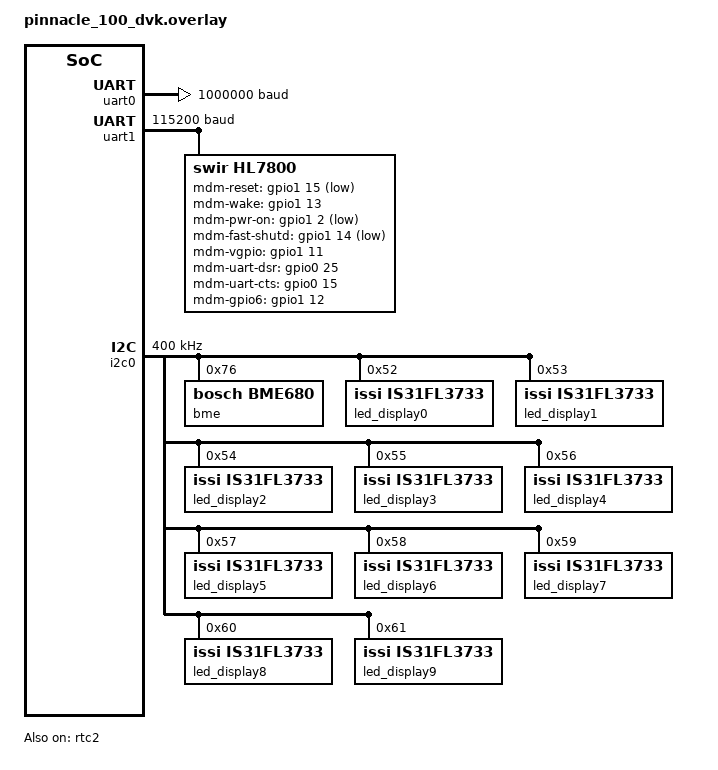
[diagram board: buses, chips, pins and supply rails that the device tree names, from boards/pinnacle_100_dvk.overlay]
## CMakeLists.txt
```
cmake_minimum_required(VERSION 3.20.0)

set(CMAKE_EXPORT_COMPILE_COMMANDS ON)

set(EXTRA_CONF_FILE ${CMAKE_CURRENT_SOURCE_DIR}/sign.conf)

find_package(Zephyr REQUIRED HINTS $ENV{ZEPHYR_BASE})
project(embedded-departure-board)

# Generate hex files from pem files
set(gen_dir ${ZEPHYR_BINARY_DIR}/include/generated/)
zephyr_include_directories(${gen_dir})

foreach(inc_file
  r4.crt
  AmazonRootCA3.cer
)
  generate_inc_file_for_target(
    app
    keys/public/${inc_file}
    ${gen_dir}/${inc_file}.hex
  )
endforeach()

if(NOT EXISTS ${CMAKE_CURRENT_SOURCE_DIR}/keys/private/swiftly-api.key)
  write_file(${CMAKE_CURRENT_SOURCE_DIR}/keys/private/swiftly-api.key \"ffffffffffffffffffffffffffffffff\")
endif()

target_include_directories(app PRIVATE ${CMAKE_CURRENT_SOURCE_DIR}/src)
FILE(GLOB_RECURSE app_sources src/*.c)
target_sources(app PRIVATE ${app_sources})

target_compile_definitions(app PRIVATE _POSIX_C_SOURCE=200809L)
SET_SOURCE_FILES_PROPERTIES( ${app_sources} APPEND PROPERTIES COMPILE_FLAGS -fanalyzer )
```

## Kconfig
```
menu "Embedded Departure Board"
source "Kconfig.zephyr"

#### LED DISPLAY TEST SETTINGS ####
config LED_DISPLAY_TEST
  bool "Select to run LED display test instead of main application"

#### STOP SETTINGS ####
config STOP_ID
  string "Bus stop ID"

config STOP_MAX_ROUTES
  int "Maximum number of routes expected at the configured stop"
  default 5

config ROUTE_MAX_DEPARTURES
  int "Maximum number of departures expected for EACH route"
  default 2

#### SIGN SETTINGS ####

config UPDATE_STOP_FREQUENCY_SECONDS
  int "The frequency at which stop departure times are updated in seconds"
  default 30

config NUMBER_OF_DISPLAY_BOXES
  int "The number of display boxes connected to the sign"
  default 6

config MAX_TIME_INACTIVE_BEFORE_RESET_MS
  int "Maximum amount of time the system can remain inactive before it resets in milliseconds"
  default 60000

#### LIGHT_SENSOR SETTINGS ####

config LIGHT_SENSOR
  bool "Enable I2C ambient light sensor"
  default y

#### HTTP stop request settings ####

config HTTP_REQUEST_RETRY_COUNT
  int "Defines the number of HTTP request retries on failure (i.e. 404)"
  default 0

config STOP_JSON_BUF_SIZE
  int "Defines the max size for stop JSON response body receive buffer"
  default 4096

## SWIFTLY ##
config SWIFTLY_API_HOSTNAME
  string "Swiftly API hostname used to retrieve stop predictions data"
  default "api.goswift.ly"

config SWIFTLY_API_PATH
  string "Swiftly API HTTP path used to retrieve stop predictions data"
  default "/real-time/pioneer-valley-pvta/predictions"

config SWIFTLY_API_NUMBER_OF_PREDICTIONS
  string "The number of future predictions to return per route/stop in the response"
  default "1"

#### NTP SETTINGS ####

config PRIMARY_NTP_SERVER
  string "Primary NTP server used to synchronize system time"
  default "time.nist.gov"

config FALLBACK_NTP_SERVER
  string "Fallback NTP server used to synchronize system time if the primary server is unavailable"
  default "us.pool.ntp.org"

config NTP_REQUEST_TIMEOUT_MS
  int "Max amount of time allowed waiting for a single NTP query response for in milliseconds"
  # The NIST time servers should never be queried more frequently than once every 4 seconds.
  default 4000

config NTP_FETCH_RETRY_COUNT
  int "Max attempts to fetch time from NTP server before changing to fallback server"
  default 2

endmenu
```

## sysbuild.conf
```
SB_CONFIG_BOOTLOADER_MCUBOOT=y
SB_CONFIG_BOOT_SIGNATURE_TYPE_ECDSA_P256=y
SB_CONFIG_MERGED_HEX_FILES=y
```

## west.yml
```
# Import requirements for nRF9160 Feather Examples and Drivers
manifest:
  remotes:
    - name: ncs
      url-base: https://github.com/nrfconnect

  projects:
    - name: nrf
      repo-path: sdk-nrf
      remote: ncs
      revision: v3.4.0
      import:
         name-allowlist:
          - cmsis_6
          - hal_nordic
          - mbedtls
          - mcuboot
          - nrfxlib
          - oberon-psa-crypto
          - segger
          - tf-psa-crypto
          - trusted-firmware-m
          - zcbor
          - zephyr

    # Multiplexer Driver
    - name: multiplexer
      url: https://github.com/justins-engineering/zephyr-multiplexer
      revision: main
      path: multiplexer

  self:
    path: app
```

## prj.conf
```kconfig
# TF-M's "profile not set" build (see CONFIG_TFM_PROFILE_TYPE_NOT_SET in this
# board's conf) unconditionally enables TFM_EXPERIMENTAL
CONFIG_WARN_EXPERIMENTAL=n

# Set LIBC
CONFIG_PICOLIBC=y

# PicolibC targets C17 and POSIX 2018 standards
CONFIG_STD_C17=y

# Enforce MISRA C standards
CONFIG_MISRA_SANE=y

# Enable FPU & FPU sharing
CONFIG_FPU=y
CONFIG_FPU_SHARING=y

# Reset Reason and Reboot
CONFIG_HWINFO=y
CONFIG_REBOOT=y

# Power Management
CONFIG_PM_DEVICE=y

# Compiler optimizations
# Optimize for speed since space isn't a huge concern for this app
CONFIG_SPEED_OPTIMIZATIONS=y

# Flash operations.
CONFIG_FLASH=y
CONFIG_FLASH_MAP=y
CONFIG_FLASH_PAGE_LAYOUT=y
CONFIG_STREAM_FLASH=y
CONFIG_SETTINGS=y

# Watchdog timer
CONFIG_WATCHDOG=y
CONFIG_WDT_DISABLE_AT_BOOT=n

# Multiplexor drivers
CONFIG_GPIO=y
CONFIG_MULTIPLEXER=y

# Counter
CONFIG_COUNTER=y

# I2C
CONFIG_I2C=y

# PWM
CONFIG_PWM=y

# Networking
CONFIG_NETWORKING=y
CONFIG_NET_BUF=y
CONFIG_NET_SOCKETS=y
CONFIG_NET_IPV4=y
CONFIG_NET_IPV6=y
CONFIG_NET_UDP=n

# SNTP
CONFIG_SNTP=y

# Stack and heap configurations
# Needs to be larger than expected routes JSON, see sign.conf.
# Currently set to double the size because we have plenty of memory.
CONFIG_MAIN_STACK_SIZE=24576
# Increase heap size for networking operations
CONFIG_HEAP_MEM_POOL_SIZE=4096

# MCUBOOT
CONFIG_BOOTLOADER_MCUBOOT=y
CONFIG_MCUBOOT_BOOTUTIL_LIB=y

# Enable MCUmgr and dependencies.
CONFIG_ZCBOR=y
CONFIG_MCUMGR=y
CONFIG_BASE64=y
CONFIG_CRC=y
CONFIG_CONSOLE=y
CONFIG_UART_CONSOLE=y
CONFIG_UART_CONSOLE_MCUMGR=y
CONFIG_UART_MCUMGR=y
CONFIG_MCUMGR_TRANSPORT_UART=y

# Increase MCUmgr transfer speeds
CONFIG_UART_MCUMGR_RX_BUF_SIZE=512
CONFIG_MCUMGR_TRANSPORT_NETBUF_SIZE=512

# Some MCUmgr command handlers require a large stack.
CONFIG_SYSTEM_WORKQUEUE_STACK_SIZE=4096

# Enable most MCUmgr core commands.
CONFIG_IMG_MANAGER=y
CONFIG_IMG_ERASE_PROGRESSIVELY=y
CONFIG_MCUMGR_GRP_IMG=y
CONFIG_MCUMGR_GRP_OS=y
CONFIG_IMG_ENABLE_IMAGE_CHECK=y

# Hardening
CONFIG_FORTIFY_SOURCE_COMPILE_TIME=y
CONFIG_STACK_SENTINEL=y
CONFIG_OVERRIDE_FRAME_POINTER_DEFAULT=y
CONFIG_STACK_CANARIES=y
CONFIG_STACK_POINTER_RANDOM=100

# NCS boot banner
CONFIG_NCS_APPLICATION_BOOT_BANNER_STRING="Embedded Departure Board Stop 414"

# Logging
CONFIG_LOG=y
# 1 = Error, 2 = Warn, 3 = Info, 4 = Debug
CONFIG_LOG_DEFAULT_LEVEL=2

# Log mode minimal & immediate are good for debugging
CONFIG_LOG_MODE_MINIMAL=y
# CONFIG_LOG_MODE_IMMEDIATE=y

# Log mode deferred
# CONFIG_LOG_MODE_DEFERRED=y
# CONFIG_LOG_SPEED=y
# CONFIG_LOG_DBG_COLOR_BLUE=y
# CONFIG_LOG_PROCESS_THREAD_STACK_SIZE=2048
# The default stack size of 1024 seems okay for log level 1 and 2, but not 3 and 4.
# We have enough unused RAM and I'd rather avoid any potential logging stack overflows either way.

# Log RTT
# CONFIG_LOG_BACKEND_UART=n
# CONFIG_LOG_MODE_MINIMAL=n
# CONFIG_USE_SEGGER_RTT=y
# CONFIG_LOG_BACKEND_RTT=y
# CONFIG_SEGGER_RTT_MODE_NO_BLOCK_TRIM=y

# Network Logging
# CONFIG_NET_LOG=y
# CONFIG_NET_SOCKETS_LOG_LEVEL_DBG=y

# Debugging
CONFIG_DEBUG=y
CONFIG_FAULT_DUMP=2
# CONFIG_DEBUG_COREDUMP=y
# CONFIG_DEBUG_COREDUMP_BACKEND_LOGGING=y
# CONFIG_DEBUG_COREDUMP_MEMORY_DUMP_MIN=y
# CONFIG_DEBUG_OPTIMIZATIONS=y
# CONFIG_THREAD_NAME=y
# CONFIG_THREAD_MONITOR=y
# CONFIG_THREAD_ANALYZER=y
# CONFIG_THREAD_ANALYZER_USE_LOG=y
# CONFIG_THREAD_ANALYZER_USE_PRINTK=y
# CONFIG_THREAD_ANALYZER_AUTO=y
# CONFIG_THREAD_ANALYZER_AUTO_INTERVAL=5
# CONFIG_DEBUG_THREAD_INFO=y
# CONFIG_THREAD_STACK_INFO=y
# CONFIG_MULTIPLEXER_LOG_LEVEL_DBG=y

# CONFIG_SYS_HEAP_LISTENER=y
# CONFIG_SYS_HEAP_RUNTIME_STATS=y
# CONFIG_STACK_USAGE=y
# CONFIG_INIT_STACKS=y
```

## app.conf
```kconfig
CONFIG_STOP_ID="73"

CONFIG_UPDATE_STOP_FREQUENCY=30

# Stop data request options
CONFIG_STOP_REQUEST_INFOPOINT=y
CONFIG_STOP_REQUEST_HOSTNAME="bustracker.pvta.com"
# CONFIG_STOP_REQUEST_HOSTNAME="pvta.jes.contact"

CONFIG_STOP_REQUEST_PATH="/InfoPoint/rest/SignageStopDepartures/GetSignageDeparturesByStopId?stopId=73"
# CONFIG_STOP_REQUEST_PATH="/stop/73"

# Defines the max size for JSON response body receive buffer.
# Actual size required varies quite a bit depending on how many routes
# are currently running for a given stop.
CONFIG_STOP_JSON_BUF_SIZE=10240

# OTA DFU options
CONFIG_OTA_HOSTNAME="pvta.jes.contact"
CONFIG_OTA_PATH="/firmware"

# Set to 'y' to enable I2C ambient light sensor
CONFIG_LIGHT_SENSOR=y

# Set to 'y' to run visiual display tests
CONFIG_LED_DISPLAY_TEST=n
```

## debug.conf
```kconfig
# # UART Shell
# CONFIG_SHELL=y
# CONFIG_FILE_SYSTEM_SHELL=y

# RTT Shell
CONFIG_SHELL=y
CONFIG_USE_SEGGER_RTT=y
CONFIG_SHELL_BACKEND_RTT=y
CONFIG_FILE_SYSTEM_SHELL=y

# Log UART
# CONFIG_LOG_INFO_COLOR_GREEN=y
# CONFIG_LOG_MODE_MINIMAL=y
# CONFIG_LOG_MODE_DEFERRED=y
# CONFIG_LOG_MODE_OVERFLOW=y
# CONFIG_LOG_BUFFER_SIZE=2048
# CONFIG_LOG_PROCESS_THREAD_STACK_SIZE=2048

# Log RTT
# CONFIG_LOG_MODE_MINIMAL=n
# CONFIG_RTT_CONSOLE=y
# CONFIG_USE_SEGGER_RTT=y
# CONFIG_LOG_BACKEND_RTT=y
# CONFIG_LOG_BACKEND_UART=n
# CONFIG_LOG_BACKEND_RTT_BUFFER_SIZE=2048
# CONFIG_LOG_BACKEND_RTT_MESSAGE_SIZE=256
# CONFIG_LOG_BACKEND_RTT_MODE_OVERWRITE=y
# CONFIG_LOG_PROCESS_THREAD_STACK_SIZE=2048

# Network Logging
# CONFIG_NET_LOG=y
# CONFIG_NET_BUF_LOG=y
# CONFIG_NET_BUF_LOG_LEVEL_DBG=y
# CONFIG_NET_SOCKETS_LOG_LEVEL_DBG=y
# CONFIG_NET_HTTP_LOG_LEVEL_DBG=y
# CONFIG_NET_BUF_POOL_USAGE=y
# CONFIG_NET_BUF_SIMPLE_LOG=y

# Debugging
CONFIG_DEBUG=y
# CONFIG_DEBUG_OPTIMIZATIONS=y
# CONFIG_RESET_ON_FATAL_ERROR=n
# CONFIG_THREAD_NAME=y
# CONFIG_THREAD_MONITOR=y
# CONFIG_THREAD_ANALYZER=y
# CONFIG_THREAD_ANALYZER_ISR_STACK_USAGE=y
# CONFIG_THREAD_ANALYZER_USE_LOG=y
# CONFIG_THREAD_ANALYZER_AUTO=y
# CONFIG_DEBUG_THREAD_INFO=y
# CONFIG_THREAD_STACK_INFO=y
# CONFIG_DEBUG_COREDUMP=y
# CONFIG_DEBUG_COREDUMP_BACKEND_LOGGING=y
# CONFIG_DEBUG_COREDUMP_MEMORY_DUMP_MIN=y
# CONFIG_MULTIPLEXER_LOG_LEVEL_DBG=y
# CONFIG_LOG_DEFAULT_LEVEL=3
```

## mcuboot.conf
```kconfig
# Config for building with ECDSA-P256 signatures
CONFIG_BOOT_SIGNATURE_TYPE_ECDSA_P256=y
CONFIG_BOOT_SWAP_USING_MOVE=y
# CONFIG_TFM_KEY_FILE_NS="keys/secret/root-rsa-3072_ns.pem"
# CONFIG_TFM_KEY_FILE_S="keys/secret/root-rsa-3072_s.pem"
```

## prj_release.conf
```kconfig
# See prj.conf's comment: TFM_EXPERIMENTAL is unconditionally enabled by this
# TF-M profile on this SoC, reproduced on a stock hello_world -- not this
# app's fault, but fatal under this project's strict Kconfig-warnings policy.
CONFIG_WARN_EXPERIMENTAL=n

# Set LIBC
CONFIG_PICOLIBC=y

# PicolibC targets C17 and POSIX 2018 standards
CONFIG_STD_C17=y

# Enforce MISRA C standards
CONFIG_MISRA_SANE=y

# Enable FPU & FPU sharing
CONFIG_FPU=y
CONFIG_FPU_SHARING=y

# Reset Reason and Reboot
CONFIG_HWINFO=y
CONFIG_REBOOT=y

# Power Management
CONFIG_PM_DEVICE=y

# Compiler optimizations
# Optimize for speed since space isn't a huge concern for this app
CONFIG_SPEED_OPTIMIZATIONS=y

# Flash operations.
CONFIG_FLASH=y
CONFIG_FLASH_MAP=y
CONFIG_FLASH_PAGE_LAYOUT=y
CONFIG_STREAM_FLASH=y
CONFIG_SETTINGS=y

# Watchdog timer
CONFIG_WATCHDOG=y
CONFIG_WDT_DISABLE_AT_BOOT=n

# Multiplexor drivers
CONFIG_GPIO=y
CONFIG_MULTIPLEXER=y

# Counter
CONFIG_COUNTER=y

# I2C
CONFIG_I2C=y

# PWM
CONFIG_PWM=y

# Networking
CONFIG_NETWORKING=y
CONFIG_NET_BUF=y
CONFIG_NET_SOCKETS=y
CONFIG_NET_IPV4=y
CONFIG_NET_IPV6=y
CONFIG_NET_UDP=n

# SNTP
CONFIG_SNTP=y

# Stack and heap configurations
# Needs to be larger than expected routes JSON, see sign.conf.
# Currently set to double the size because we have plenty of memory.
CONFIG_MAIN_STACK_SIZE=24576
# Increase heap size for networking operations
CONFIG_HEAP_MEM_POOL_SIZE=4096

# MCUBOOT
CONFIG_BOOTLOADER_MCUBOOT=y
CONFIG_MCUBOOT_BOOTUTIL_LIB=y

# Enable MCUmgr and dependencies.
CONFIG_ZCBOR=y
CONFIG_MCUMGR=y
CONFIG_BASE64=y
CONFIG_CRC=y
CONFIG_CONSOLE=y
CONFIG_UART_CONSOLE=y
CONFIG_UART_CONSOLE_MCUMGR=y
# Previously implied by another symbol; NCS 3.4.0 needs this set explicitly.
CONFIG_UART_MCUMGR=y
CONFIG_MCUMGR_TRANSPORT_UART=y

# Increase MCUmgr transfer speeds
CONFIG_UART_MCUMGR_RX_BUF_SIZE=512
CONFIG_MCUMGR_TRANSPORT_NETBUF_SIZE=512

# Some MCUmgr command handlers require a large stack.
CONFIG_SYSTEM_WORKQUEUE_STACK_SIZE=4096

# Enable most MCUmgr core commands.
CONFIG_IMG_MANAGER=y
CONFIG_IMG_ERASE_PROGRESSIVELY=y
CONFIG_MCUMGR_GRP_IMG=y
CONFIG_MCUMGR_GRP_OS=y
CONFIG_IMG_ENABLE_IMAGE_CHECK=y

# Hardening
CONFIG_FORTIFY_SOURCE_COMPILE_TIME=y
CONFIG_STACK_SENTINEL=y
CONFIG_OVERRIDE_FRAME_POINTER_DEFAULT=y
CONFIG_STACK_CANARIES=y
CONFIG_STACK_POINTER_RANDOM=100
CONFIG_BOOT_BANNER=n
CONFIG_BUILD_OUTPUT_STRIPPED=y
CONFIG_EARLY_CONSOLE=n
CONFIG_FAULT_DUMP=0
CONFIG_EXCEPTION_DEBUG=n
CONFIG_PRINTK=n
CONFIG_NCS_BOOT_BANNER=n

# Logging
CONFIG_LOG=y
# 1 = Error, 2 = Warn, 3 = Info, 4 = Debug
CONFIG_LOG_DEFAULT_LEVEL=2
CONFIG_LOG_MODE_MINIMAL=y

# Debugging
CONFIG_DEBUG=n

# Auto reset
CONFIG_RESET_ON_FATAL_ERROR=y
```

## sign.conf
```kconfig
# Stop settings
CONFIG_STOP_ID="414"
CONFIG_STOP_MAX_ROUTES=8
CONFIG_ROUTE_MAX_DEPARTURES=3

# Display settings
# Adjust DISPLAY_BOXES display settings in app/src/update_stop.h
CONFIG_NUMBER_OF_DISPLAY_BOXES=6

# We occasionally get an EAGAIN error on socket connect to the Swiftly endpoint.
CONFIG_HTTP_REQUEST_RETRY_COUNT=1

# Defines the max size for JSON response body receive buffer.
# Actual size required varies quite a bit depending on how many routes
# are currently running for a given stop.
CONFIG_STOP_JSON_BUF_SIZE=8192

# Set to 'n' to disable I2C ambient light sensor
# CONFIG_LIGHT_SENSOR=n

# Set to 'y' to run visual display tests
# CONFIG_LED_DISPLAY_TEST=y
```

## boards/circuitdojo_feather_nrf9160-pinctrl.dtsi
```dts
&pinctrl {
  spi_feather_default: spi_feather_default {
    group1 {
      psels = <NRF_PSEL(SPIM_SCK, 0, 19)>,
              <NRF_PSEL(SPIM_MOSI, 0, 21)>,
              <NRF_PSEL(SPIM_MISO, 0, 22)>;
    };
    group2 {
      psels = <NRF_PSEL(SPIM_SCK, 0, 19)>,
              <NRF_PSEL(SPIM_MOSI, 0, 23)>,
              <NRF_PSEL(SPIM_MISO, 0, 21)>;
    };
  };

  spi_feather_sleep: spi_feather_sleep {
    group1 {
      psels = <NRF_PSEL(SPIM_SCK, 0, 19)>,
              <NRF_PSEL(SPIM_MOSI, 0, 23)>,
              <NRF_PSEL(SPIM_MISO, 0, 24)>;
      low-power-enable;
    };
  };

  // spi_feather_pinmux_0: spi_feather_pinmux_0 {
  //   group1 {
  //     psels = <NRF_PSEL(SPIM_SCK, 0, 19)>,
  //             <NRF_PSEL(SPIM_MOSI, 0, 23)>,
  //             <NRF_PSEL(SPIM_MISO, 0, 21)>;
  //   };
  // };

  // /omit-if-no-ref/ spi_feather_pinmux_1: spi_feather_pinmux_1 {
  //   group1 {
  //     psels = <NRF_PSEL(SPIM_SCK, 0, 19)>,
  //             <NRF_PSEL(SPIM_MOSI, 0, 24)>,
  //             <NRF_PSEL(SPIM_MISO, 0, 21)>;
  //   };
  // };

  // /omit-if-no-ref/ spi_feather_pinmux_2: spi_feather_pinmux_2 {
  //   group1 {
  //     psels = <NRF_PSEL(SPIM_SCK, 0, 19)>,
  //             <NRF_PSEL(SPIM_MOSI, 0, 22)>,
  //             <NRF_PSEL(SPIM_MISO, 0, 21)>;
  //   };
  // };

  // /omit-if-no-ref/ spi_feather_pinmux_3: spi_feather_pinmux_3 {
  //   group1 {
  //     psels = <NRF_PSEL(SPIM_SCK, 0, 19)>,
  //             <NRF_PSEL(SPIM_MOSI, 0, 4)>,
  //             <NRF_PSEL(SPIM_MISO, 0, 21)>;
  //   };
  // };

  // /omit-if-no-ref/ spi_feather_pinmux_4: spi_feather_pinmux_4 {
  //   group1 {
  //     psels = <NRF_PSEL(SPIM_SCK, 0, 19)>,
  //             <NRF_PSEL(SPIM_MOSI, 0, 29)>,
  //             <NRF_PSEL(SPIM_MISO, 0, 21)>;
  //   };
  // };
};
```

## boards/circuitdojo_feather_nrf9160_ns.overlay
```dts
#include <zephyr/dt-bindings/led/led.h>

&pinctrl {
  i2c1_default: i2c1_default {
    group1 {
      psels = <NRF_PSEL(TWIM_SDA, 0, 26)>,
              <NRF_PSEL(TWIM_SCL, 0, 27)>;
      bias-pull-up;
    };
  };

  spi_feather_default: spi_feather_default {
    group1 {
      psels = <NRF_PSEL(SPIM_SCK, 0, 19)>,
              <NRF_PSEL(SPIM_MOSI, 0, 21)>,
              <NRF_PSEL(SPIM_MISO, 0, 22)>;
    };
  };

  spi_feather_sleep: spi_feather_sleep {
    group1 {
      psels = <NRF_PSEL(SPIM_SCK, 0, 19)>,
              <NRF_PSEL(SPIM_MOSI, 0, 21)>,
              <NRF_PSEL(SPIM_MISO, 0, 22)>;
      low-power-enable;
    };
  };
};

&i2c1 {
  compatible = "nordic,nrf-twim";
	status = "okay";
  zephyr,concat-buf-size = <256>;

	pinctrl-0 = <&i2c1_default>;
	pinctrl-1 = <&i2c1_sleep>;
	pinctrl-names = "default", "sleep";

  pcf85063a: pcf85063a@51 {
	  status = "disabled";
  };

  lis2dh: lis2dh@18 {
    status = "disabled";
  };

  sen0562@23 {
    status = "okay";
    compatible = "dfrobot,sen0562";
    reg = <0x23>;
  };
};

&uart0 {
  status = "okay";
  compatible = "nordic,nrf-uarte";
  current-speed = <1000000>;
  pinctrl-0 = <&uart0_default>;
  pinctrl-1 = <&uart0_sleep>;
  pinctrl-names = "default", "sleep";
};

&uart2 {
  /* Cannot be used together with spi2. */
  status = "disabled";
};

&i2c2 {
  /* Cannot be used together with spi2. */
  status = "disabled";
};

&spi2 {
  compatible = "nordic,nrf-spim";
  status = "okay";
  cs-gpios = <&gpio0 31 GPIO_ACTIVE_LOW>;
  pinctrl-0 = <&spi_feather_default>;
  pinctrl-1 = <&spi_feather_sleep>;
  pinctrl-names = "default", "sleep";
  led_strip: ws2812@0 {
    compatible = "worldsemi,ws2812-spi";
    reg = <0>;
    spi-max-frequency = <4000000>;
    chain-length = <126>;
    spi-one-frame = <0x70>;
    spi-zero-frame = <0x40>;
    color-mapping = <LED_COLOR_ID_GREEN
    LED_COLOR_ID_RED
    LED_COLOR_ID_BLUE>;
  };
};

&rtc0 {
  status = "okay";
  // Set the frequency to 8Hz
  prescaler = <4095>;
  wakeup-source;
};

&pwm0 {
  status = "okay";
  pinctrl-0 = <&pwm0_default>;
  pinctrl-1 = <&pwm0_sleep>;
  pinctrl-names = "default", "sleep";
};

/* This app's flash layout: TF-M secure/nonsecure sub-partitioning of slot0
 * plus TF-M storage, replacing the board's stock partition table. Must stay
 * in sync with ../sysbuild/mcuboot/boards/circuitdojo_feather_nrf9160.overlay. */
/delete-node/ &boot_partition;
/delete-node/ &slot0_partition;
/delete-node/ &slot1_partition;
/delete-node/ &tfm_ps_partition;
/delete-node/ &tfm_its_partition;
/delete-node/ &tfm_otp_partition;
/delete-node/ &storage_partition;

&flash0 {
  partitions {
    boot_partition: partition@0 {
      compatible = "zephyr,mapped-partition";
      label = "mcuboot";
      reg = <0x00000000 0x10000>;
    };

    slot0_partition: partition@10000 {
      compatible = "zephyr,mapped-partition";
      label = "image-0";
      reg = <0x00010000 0x000d0000>;
      ranges = <0x0 0x10000 0xd0000>;
      #address-cells = <1>;
      #size-cells = <1>;

      slot0_s_partition: partition@0 {
        compatible = "zephyr,mapped-partition";
        label = "image-0-secure";
        reg = <0x00000000 0x00038000>;
      };

      slot0_ns_partition: partition@38000 {
        compatible = "zephyr,mapped-partition";
        label = "image-0-nonsecure";
        reg = <0x00038000 0x00098000>;
      };
    };

    /* TF-M's own secure-side storage, after both slots. */
    tfm_ps_partition: partition@e0000 {
      compatible = "zephyr,mapped-partition";
      label = "tfm-ps";
      reg = <0x000e0000 0x00002000>;
    };

    tfm_its_partition: partition@e2000 {
      compatible = "zephyr,mapped-partition";
      label = "tfm-its";
      reg = <0x000e2000 0x00002000>;
    };

    tfm_otp_partition: partition@e4000 {
      compatible = "zephyr,mapped-partition";
      label = "tfm-otp";
      reg = <0x000e4000 0x00002000>;
    };

    /* Non-secure settings/NVS storage, to the end of the 1 MB internal flash.
     * The SPU assigns flash security in 32 KB blocks, so this must start on
     * a 32 KB boundary or the block shared with TF-M's secure storage would
     * become nonsecure. 0xe6000-0xe8000 is reserved slack. */
    storage_partition: partition@e8000 {
      compatible = "zephyr,mapped-partition";
      label = "storage";
      reg = <0x000e8000 0x00018000>;
    };
  };
};

&w25q32jv {
  partitions {
    compatible = "fixed-partitions";
    #address-cells = <1>;
    #size-cells = <1>;

    /* MCUboot secondary (update) slot: same size as slot0 so images can
     * swap; internal flash has no room for a second slot. Plain
     * fixed-partitions because "zephyr,mapped-partition" requires internal
     * flash, and this slot is only a staging area, never executed from. */
    slot1_partition: partition@0 {
      label = "image-1";
      reg = <0x00000000 0x000d0000>;
    };
  };
};

/ {
  multiplexer: multiplexer@0 {
    compatible = "multiplexer";
    status = "okay";
    reg = <0 1>;
    gpios = <&gpio0 2 (GPIO_PULL_DOWN | GPIO_ACTIVE_HIGH)>,
            <&gpio0 1 (GPIO_PULL_DOWN | GPIO_ACTIVE_HIGH)>,
            <&gpio0 0 (GPIO_PULL_DOWN | GPIO_ACTIVE_HIGH)>;
  };

  display_switch_0: display_switch_0 {
    compatible = "gpio-switch";
    gpios = <&gpio0 13 (GPIO_PULL_DOWN | GPIO_ACTIVE_HIGH)>;
  };

  display_switch_1: display_switch_1 {
    compatible = "gpio-switch";
    gpios = <&gpio0 14 (GPIO_PULL_DOWN | GPIO_ACTIVE_HIGH)>;
  };

  display_switch_2: display_switch_2 {
    compatible = "gpio-switch";
    gpios = <&gpio0 15 (GPIO_PULL_DOWN | GPIO_ACTIVE_HIGH)>;
  };

  display_switch_3: display_switch_3 {
    compatible = "gpio-switch";
    gpios = <&gpio0 16 (GPIO_PULL_DOWN | GPIO_ACTIVE_HIGH)>;
  };

  display_switch_4: display_switch_4 {
    compatible = "gpio-switch";
    gpios = <&gpio0 17 (GPIO_PULL_DOWN | GPIO_ACTIVE_HIGH)>;
  };

  display_switch_5: display_switch_5 {
    compatible = "gpio-switch";
    gpios = <&gpio0 18 (GPIO_PULL_DOWN | GPIO_ACTIVE_HIGH)>;
  };

  chosen {
    nordic,pm-ext-flash = &w25q32jv;
    zephyr,console = &uart0;
    zephyr,shell-uart = &uart0;
    zephyr,uart-mcumgr = &uart0;
  };

  aliases {
    rtc = &rtc0;
    led-strip = &led_strip;
    mux = &multiplexer;
  };
};
```

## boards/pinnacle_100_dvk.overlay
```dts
#include <zephyr/dt-bindings/led/led.h>

&uart0 {
  status = "okay";
  compatible = "nordic,nrf-uarte";
  current-speed = <1000000>;
  pinctrl-0 = <&uart0_default>;
  pinctrl-1 = <&uart0_sleep>;
  pinctrl-names = "default", "sleep";
  hw-flow-control;
};

&uart1 {
	compatible = "nordic,nrf-uarte";
	status = "okay";
	current-speed = <115200>;
	hw-flow-control;
	pinctrl-0 = <&uart1_default>;
	pinctrl-1 = <&uart1_sleep>;
	pinctrl-names = "default", "sleep";
	hl7800: hl7800 {
		compatible = "swir,hl7800";
		status = "okay";
		mdm-reset-gpios = <&gpio1 15 (GPIO_OPEN_DRAIN | GPIO_ACTIVE_LOW)>;
		mdm-wake-gpios = <&gpio1 13 (GPIO_OPEN_SOURCE | GPIO_ACTIVE_HIGH)>;
		mdm-pwr-on-gpios = <&gpio1 2 (GPIO_OPEN_DRAIN | GPIO_ACTIVE_LOW)>;
		mdm-fast-shutd-gpios = <&gpio1 14 (GPIO_OPEN_DRAIN | GPIO_ACTIVE_LOW)>;
		mdm-vgpio-gpios = <&gpio1 11 0>;
		mdm-uart-dsr-gpios = <&gpio0 25 0>;
		mdm-uart-cts-gpios = <&gpio0 15 0>;
		mdm-gpio6-gpios = <&gpio1 12 0>;
	};
};

&i2c0 {
  compatible = "nordic,nrf-twim";
	status = "okay";
	pinctrl-0 = <&i2c0_default>;
	pinctrl-1 = <&i2c0_sleep>;
	pinctrl-names = "default", "sleep";
  clock-frequency = <I2C_BITRATE_FAST>;

  bme: bme680@76 {
		compatible = "bosch,bme680";
		status = "okay";
		reg = <0x76>;
	};

  led_display0: is31fl3733@52 {
		reg = <0x52>;
		compatible = "issi,is31fl3733";
	};
  led_display1: is31fl3733@53 {
		reg = <0x53>;
		compatible = "issi,is31fl3733";
	};
  led_display2: is31fl3733@54 {
		reg = <0x54>;
		compatible = "issi,is31fl3733";
	};
  led_display3: is31fl3733@55 {
		reg = <0x55>;
		compatible = "issi,is31fl3733";
	};
  led_display4: is31fl3733@56 {
		reg = <0x56>;
		compatible = "issi,is31fl3733";
	};
  led_display5: is31fl3733@57 {
		reg = <0x57>;
		compatible = "issi,is31fl3733";
	};
  led_display6: is31fl3733@58 {
		reg = <0x58>;
		compatible = "issi,is31fl3733";
	};
  led_display7: is31fl3733@59 {
		reg = <0x59>;
		compatible = "issi,is31fl3733";
	};
  led_display8: is31fl3733@60 {
		reg = <0x60>;
		compatible = "issi,is31fl3733";
	};
  led_display9: is31fl3733@61 {
		reg = <0x61>;
		compatible = "issi,is31fl3733";
	};
};

&rtc2 {
  status = "okay";
  // Set the frequency to 8Hz
  prescaler = <4095>;
};

/* remove QSPI partitions from device tree because nRF Connect SDK
 * partition manager will handle them.
 */
/delete-node/ &slot1_partition;
/delete-node/ &scratch_partition;
/delete-node/ &lfs_partition;

/ {
  chosen {
    nordic,pm-ext-flash = &mx25r64;
    zephyr,shell-uart = &uart0;
		zephyr,uart-mcumgr = &uart0;
  };

  aliases {
    rtc = &rtc2;
    modem-uart = &uart1;
    modem = &hl7800;
  };
};
```

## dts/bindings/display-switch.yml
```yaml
description: GPIO pin to enable/disable a display

compatible: "gpio-switch"

properties:
  gpios:
    type: phandle-array
    required: true
    description: |
      The GPIO connected to the display enable pin.
```

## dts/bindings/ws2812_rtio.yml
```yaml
# Copyright (c) 2024 Justin's Engineering Services LLC
# SPDX-License-Identifier: Apache-2.0

description: |
  Worldsemi WS2812 LED strip, RTIO binding

  Driver bindings for bit-banging a WS2812 or compatible LED strip.

compatible: "worldsemi,ws2812-rtio"

include: [base.yaml, ws2812.yaml]

properties:
  gpios:
    type: phandle-array
    required: true
    description: |
      GPIO phandle and specifier for the pin connected to the daisy
      chain's input pin. Exactly one pin should be given.
```

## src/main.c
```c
#include <zephyr/drivers/hwinfo.h>
#include <zephyr/kernel.h>
#include <zephyr/logging/log.h>
#include <zephyr/sys/reboot.h>
#include <zephyr/types.h>

#include "display/display_switches.h"
#include "net/lte_manager.h"
#include "real_time_counter.h"
#include "update_stop.h"
#include "watchdog_app.h"

#ifdef CONFIG_LIGHT_SENSOR
#include "display/pwm_leds.h"
#include "light_sensor.h"
#endif  // CONFIG_LIGHT_SENSOR

#ifdef CONFIG_BOOTLOADER_MCUBOOT
#include "net/fota.h"
#endif  // CONFIG_BOOTLOADER_MCUBOOT

LOG_MODULE_REGISTER(main);

void log_reset_reason(void) {
  uint32_t cause;
  int err = hwinfo_get_reset_cause(&cause);

  if (err) {
    LOG_ERR("Failed to get reset cause. Err: %d", err);
  } else {
    LOG_INF("Reset Reason: ");
    if (cause == 0) {
      LOG_ERR("RESET_UNKNOWN");
      return;
    }
    if (cause == RESET_PIN) {
      LOG_WRN("RESET_PIN");
    }
    if (cause == RESET_SOFTWARE) {
      LOG_WRN("RESET_SOFTWARE");
    }
    if (cause == RESET_BROWNOUT) {
      LOG_WRN("RESET_BROWNOUT");
    }
    if (cause == RESET_POR) {
      LOG_WRN("RESET_POR");
    }
    if (cause == RESET_WATCHDOG) {
      LOG_WRN("RESET_WATCHDOG");
    }
    if (cause == RESET_DEBUG) {
      LOG_WRN("RESET_DEBUG");
    }
    if (cause == RESET_SECURITY) {
      LOG_WRN("RESET_SECURITY");
    }
    if (cause == RESET_LOW_POWER_WAKE) {
      LOG_WRN("RESET_LOW_POWER_WAKE");
    }
    if (cause == RESET_CPU_LOCKUP) {
      LOG_WRN("RESET_CPU_LOCKUP");
    }
    if (cause == RESET_PARITY) {
      LOG_WRN("RESET_PARITY");
    }
    if (cause == RESET_PLL) {
      LOG_WRN("RESET_PLL");
    }
    if (cause == RESET_CLOCK) {
      LOG_WRN("RESET_CLOCK");
    }
    if (cause == RESET_HARDWARE) {
      LOG_WRN("RESET_HARDWARE");
    }
    if (cause == RESET_USER) {
      LOG_WRN("RESET_USER");
    }
    if (cause == RESET_TEMPERATURE) {
      LOG_WRN("RESET_TEMPERATURE");
    }
    hwinfo_clear_reset_cause();
  }
}

#ifdef CONFIG_LED_DISPLAY_TEST
#include "display/led_display.h"

int main(void) {
  int err = init_display_switches();
  if (err < 0) {
    LOG_ERR("Failed to initialize display switches. Err: %d", err);
    goto end;
  }

#ifdef CONFIG_LIGHT_SENSOR
  err = pwm_leds_test();
  if (err) {
    goto end;
  }
#endif  // CONFIG_LIGHT_SENSOR

  while (1) {
    err = led_test_patern();
    if (err) {
      goto end;
    }

    err = max_power_test();
    if (err) {
      goto end;
    }
  }

end:
  LOG_ERR("Reached end of main; waiting for manual reset.");
}

#else
int main(void) {
  int ret;
  int wdt_channel_id = -1;

  ret = init_display_switches();
  if (ret < 0) {
    LOG_ERR("Failed to initialize display switches. Err: %d", ret);
    goto reset;
  }

  // Set all displays off because the LEDs have memory
  for (size_t box = 0; box < CONFIG_NUMBER_OF_DISPLAY_BOXES; box++) {
    ret = display_off(box);
    if (ret < 0) {
      LOG_ERR("Failed to set display switch %d off.", box);
    }
  }

#ifdef CONFIG_LIGHT_SENSOR
  int lux = get_lux();
  if (lux < 0) {
    goto reset;
  }

  ret = pwm_leds_set((uint32_t)lux);
  if (ret) {
    goto reset;
  }
#endif  // CONFIG_LIGHT_SENSOR

  (void)log_reset_reason();

#ifdef CONFIG_BOOTLOADER_MCUBOOT
  (void)validate_image();
#endif

  wdt_channel_id = watchdog_init();
  if (wdt_channel_id < 0) {
    LOG_ERR("Failed to initialize watchdog. Err: %d", wdt_channel_id);
    goto reset;
  }

  ret = wdt_feed(wdt, wdt_channel_id);
  if (ret) {
    LOG_ERR("Failed to feed watchdog. Err: %d", ret);
    goto reset;
  }

  ret = lte_connect();
  if (ret) {
    goto reset;
  }

  if (k_sem_take(&lte_connected_sem, K_FOREVER) == 0) {
    ret = set_rtc_time();
    if (ret) {
      LOG_ERR("Failed to set rtc.");
      goto reset;
    }
  } else {
    LOG_ERR("Failed to take network_connected_sem.");
    goto reset;
  }
  k_sem_give(&lte_connected_sem);

  ret = wdt_feed(wdt, wdt_channel_id);
  if (ret) {
    LOG_ERR("Failed to feed watchdog. Err: %d", ret);
    goto reset;
  }

  // TODO: check for update or wait for update socket
  // (void)download_update();

  (void)k_timer_start(
      &update_stop_timer, K_SECONDS(CONFIG_UPDATE_STOP_FREQUENCY_SECONDS),
      K_SECONDS(CONFIG_UPDATE_STOP_FREQUENCY_SECONDS)
  );
  LOG_INF("update_stop_timer started");

  while (1) {
    if (k_sem_take(&rtc_sync_sem, K_NO_WAIT) == 0) {
      ret = set_rtc_time();
      if (ret) {
        LOG_ERR("Failed to set rtc.");
        goto reset;
      }
    } else {
      LOG_DBG("Failed to take rtc_sync_sem");
    }

    if (k_sem_take(&update_stop_sem, K_NO_WAIT) == 0) {
      /* A returned 2 corresponds to a successful response with no scheduled
       * departures.
       */
#ifdef CONFIG_LIGHT_SENSOR
      ret = update_stop();
      if (ret == 0) {
        lux = get_lux();
        if (lux < 0) {
          goto reset;
        }
      } else if (ret == 2) {
        lux = 0xFF;
      } else {
        goto reset;
      }

      ret = pwm_leds_set((uint32_t)lux);
      if (ret) {
        goto reset;
      }
#else
      ret = update_stop();
      if (ret && (ret != 2)) {
        goto reset;
      }
#endif  // CONFIG_LIGHT_SENSOR

      ret = wdt_feed(wdt, wdt_channel_id);
      if (ret) {
        LOG_ERR("Failed to feed watchdog. Err: %d", ret);
        goto reset;
      }
    } else {
      LOG_DBG("Failed to take update_stop_sem");
    }

    k_cpu_idle();
  }

reset:
  lte_disconnect();

#ifdef CONFIG_DEBUG
  LOG_WRN("Reached end of main; waiting for manual reset.");
  while (1) {
    ret = wdt_feed(wdt, wdt_channel_id);
    if (ret) {
      LOG_ERR("Failed to feed watchdog. Err: %d", ret);
    }
    k_msleep(29000);
  }
#else
  k_msleep(3000);
  LOG_ERR("Reached end of main; rebooting.");
  /* The ARM implementation sys_reboot ignores the parameter */
  sys_reboot(SYS_REBOOT_WARM);
#endif
}
#endif  // CONFIG_LED_DISPLAY_TEST
```

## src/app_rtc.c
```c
#include "app_rtc.h"

#include <zephyr/device.h>
#include <zephyr/drivers/counter.h>
#include <zephyr/kernel.h>
#include <zephyr/logging/log.h>
#include <zephyr/net/sntp.h>
#include <zephyr/sys/util.h>

#define RTC DEVICE_DT_GET(DT_ALIAS(rtc))

#define SNTP_SERVER "time.nist.gov"
#define SNTP_FALLBACK_SERVER "us.pool.ntp.org"
#define SNTP_INIT_TIMEOUT_MS 3000
#define RETRY_COUNT 3

LOG_MODULE_REGISTER(rtc, LOG_LEVEL_DBG);

K_MUTEX_DEFINE(rtc_mutex);

const struct device *const rtc = RTC;

static struct sntp_time ts;

K_SEM_DEFINE(rtc_sync_sem, 0, 1);

static void get_ntp_time(void) {
  int err;

  /* Get sntp time */
  for (int rc = 0; rc < (RETRY_COUNT * 2); rc++) {
    if (rc < RETRY_COUNT) {
      err = sntp_simple(SNTP_SERVER, SNTP_INIT_TIMEOUT_MS, &ts);
    } else {
      err = sntp_simple(SNTP_FALLBACK_SERVER, SNTP_INIT_TIMEOUT_MS, &ts);
    }

    if (err && (rc == (RETRY_COUNT * 2) - 1)) {
      LOG_ERR(
          "Failed to get time from all NTP pools! Err: %i\n Check your network "
          "connection.",
          err
      );
    } else if (err && (rc == RETRY_COUNT - 1)) {
      LOG_WRN(
          "Unable to get time after 3 tries from NTP pool " SNTP_SERVER
          " . Err: %i\n Attempting to use fallback NTP pool...",
          err
      );
    } else if (err) {
      LOG_WRN("Failed to get time using SNTP, Err: %i. Retrying...", err);
      k_msleep(100);
    } else {
      break;
    }
  }
}

static void counter_top_callback(
    const struct device *counter_dev, void *user_data
) {
  LOG_INF("Updating RTC with NTP time");
  (void)k_sem_give(&rtc_sync_sem);
}

int set_app_rtc_time(void) {
  int err;
  struct counter_top_cfg top_cfg;

  err = k_mutex_lock(&rtc_mutex, K_MSEC(100));
  if (err) {
    LOG_WRN("Cat set RTC, mutex locked");
    return 1;
  }

  if (!device_is_ready(rtc)) {
    err = 1;
    LOG_WRN("RTC isn't ready!");
    goto clean_up;
  }

  top_cfg.flags = COUNTER_TOP_CFG_RESET_WHEN_LATE;
  // 24 hours = 86400 sec
  top_cfg.ticks = 86400 * counter_get_frequency(rtc);
  top_cfg.callback = counter_top_callback;
  top_cfg.user_data = &top_cfg;

  err = counter_set_guard_period(rtc, 240, 0);
  if (err) {
    LOG_ERR("Failed to set RTC guard value, ERR: %d", err);
  }

  err = counter_set_top_value(rtc, &top_cfg);
  if (err) {
    LOG_ERR("Failed to set RTC top value, ERR: %d", err);
  }

  (void)get_ntp_time();
  LOG_INF(
      "time since Epoch: high word: %u, low word: %u",
      (uint32_t)(ts.seconds >> 32), (uint32_t)ts.seconds
  );

  err = counter_start(rtc);
  if (err) {
    LOG_WRN("Failed to start RTC. Err: %i", err);
    goto clean_up;
  }

  // LOG_DBG("Frequency: %u", counter_get_frequency(rtc));
  // LOG_DBG("Max top Value: %u", counter_get_max_top_value(rtc));
  // LOG_DBG("Top Value: %u", counter_get_top_value(rtc));

clean_up:
  k_mutex_unlock(&rtc_mutex);
  return err;
}

unsigned int get_app_rtc_time(void) {
  int err = k_mutex_lock(&rtc_mutex, K_MSEC(100));
  if (err) {
    LOG_WRN("Can't read RTC, mutex locked");
    return -1;
  }

  /* Get current time from device */
  uint32_t ticks;
  err = counter_get_value(rtc, &ticks);
  LOG_WRN("Counter value: %d", ticks);
  if (err < -1) {
    LOG_ERR("Failed to get RTC value. Err: %i", err);
  }

  k_mutex_unlock(&rtc_mutex);

  return ((uint32_t)ts.seconds + (ticks / counter_get_frequency(rtc)));
}
```

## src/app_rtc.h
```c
#ifndef APP_RTC_H
#define APP_RTC_H
int set_app_rtc_time(void);
unsigned int get_app_rtc_time(void);

extern struct k_sem rtc_sync_sem;
#endif
```

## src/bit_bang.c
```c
#include "bit_bang.h"

#include <zephyr/devicetree.h>
#include <zephyr/drivers/gpio.h>
#include <zephyr/dt-bindings/led/led.h>
#include <zephyr/irq.h>
#include <zephyr/kernel.h>
#include <zephyr/logging/log.h>
#include <zephyr/rtio/rtio.h>
#include <zephyr/sys/sys_io.h>

// #include "zephyr/drivers/led_strip.h"

LOG_MODULE_REGISTER(bbt, LOG_LEVEL_DBG);

#define N (2)
#define M (N / 2)
#define SQ_SZ (N)
#define CQ_SZ (N)

#define NODE_ID DT_ALIAS(led_strip)
#define SAMPLE_PERIOD 250
#define SAMPLE_SIZE 24
#define PROCESS_TIME ((M - 1) * SAMPLE_PERIOD)
#define BIT_LEN 24
#define PULSE_WIDTH_NS 250

RTIO_DEFINE(ws2812_io, SQ_SZ, CQ_SZ);

int bit_bang_test(void) {
  const struct device *const ws2812_rtio = DEVICE_DT_GET(NODE_ID);
  struct rtio_iodev *iodev = ws2812_rtio->data;
  uint8_t *buf[M] = {0};
  uint32_t len[M] = {0};

  /* Fill the entire submission queue. */
  for (int n = 0; n < M; n++) {
    struct rtio_sqe *sqe = rtio_sqe_acquire(&ws2812_io);

    rtio_sqe_prep_write(sqe, iodev, RTIO_PRIO_HIGH, buf[n], len[n], NULL);
  }

  // while (true) {
  int m = 0;

  LOG_INF("Submitting %d write requests", M);
  rtio_submit(&ws2812_io, M);

  /* Consume completion events until there is enough sensor data
   * available to execute a batch processing algorithm, such as
   * an FFT.
   */
  while (m < M) {
    struct rtio_cqe *cqe = rtio_cqe_consume(&ws2812_io);

    if (cqe == NULL) {
      LOG_DBG("No completion events available");
      k_msleep(SAMPLE_PERIOD);
      continue;
    }
    LOG_DBG("Consumed completion event %d", m);

    if (cqe->result < 0) {
      LOG_ERR("Operation failed");
    }

    // if (rtio_cqe_get_mempool_buffer(
    //         &ws2812_io, cqe, &userdata[m], &data_len[m]
    //     )) {
    //   LOG_ERR("Failed to get mempool buffer info");
    // }
    rtio_cqe_release(&ws2812_io, cqe);
    m++;
  }

  /* Here is where we would execute a batch processing algorithm.
   * Model as a long sleep that takes multiple sensor sample
   * periods. The sensor driver can continue reading new data
   * during this time because we submitted more buffers into the
   * queue than we needed for the batch processing algorithm.
   */
  LOG_INF("Start processing %d samples", M);
  for (m = 0; m < M; m++) {
    LOG_HEXDUMP_DBG(buf[m], SAMPLE_SIZE, "Sample data:");
  }
  k_msleep(PROCESS_TIME);
  LOG_INF("Finished processing %d samples", M);

  /* Recycle the sensor data buffers and refill the submission
   * queue.
   */
  for (m = 0; m < M; m++) {
    struct rtio_sqe *sqe = rtio_sqe_acquire(&ws2812_io);

    rtio_release_buffer(&ws2812_io, &buf[m], len[m]);
    rtio_sqe_prep_write(sqe, iodev, RTIO_PRIO_HIGH, buf[m], M, NULL);
  }
  // }
  return 0;

  // // LOG_DBG("Start bit-banging");
  // int err;
  // unsigned int key;

  // if (!gpio_is_ready_dt(&bit_bang)) {
  //   printf("The load switch pin GPIO port is not ready.\n");
  //   return 1;
  // }

  // LOG_DBG("Initializing pin with inactive level.\n");

  // err = gpio_pin_configure_dt(&bit_bang, GPIO_OUTPUT_INACTIVE);
  // if (err != 0) {
  //   LOG_ERR("Configuring GPIO pin failed: %d", err);
  //   return 1;
  // }

  // key = irq_lock();

  // LOG_DBG("Waiting one us.");
  // k_busy_wait(2);

  // LOG_DBG("Setting pin to high level.\n");
  // err = gpio_pin_set_dt(&bit_bang, 1);
  // if (err != 0) {
  //   LOG_ERR("Setting GPIO pin level failed: %d\n", err);
  //   return 1;
  // }

  // LOG_DBG("Waiting one us.");
  // k_busy_wait(2);

  // LOG_DBG("Setting pin to low level.\n");
  // err = gpio_pin_set_dt(&bit_bang, 0);
  // if (err != 0) {
  //   LOG_ERR("Setting GPIO pin level failed: %d\n", err);
  //   return 1;
  // }

  // irq_unlock(key);

  return 0;
}
```

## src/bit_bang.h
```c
#ifndef BIT_BANG_TEST_H
#define BIT_BANG_TEST_H

int bit_bang_test(void);
#endif
```

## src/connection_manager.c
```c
/** @headerfile connection_manager.h */
#include "connection_manager.h"

#include <zephyr/kernel.h>
#include <zephyr/logging/log.h>
#include <zephyr/net/conn_mgr_connectivity.h>
#include <zephyr/net/conn_mgr_monitor.h>

#if CONFIG_MODEM_KEY_MGMT
#include <modem/lte_lc.h>
#include <modem/modem_key_mgmt.h>
#include <modem/nrf_modem_lib.h>
#endif

#ifdef CONFIG_MODEM_HL7800
#include <zephyr/drivers/modem/hl7800.h>
#include <zephyr/net/net_if.h>
#include <zephyr/net/tls_credentials.h>

// static struct mdm_hl7800_apn *lte_apn_config;
// static struct mdm_hl7800_callback_agent hl7800_evt_agent;
#endif

LOG_MODULE_REGISTER(connection_manager, LOG_LEVEL_DBG);

#define TLS_SEC_TAG 42

static const char ca_cert[] = {
#include "../keys/public/jes-contact.pem"
};

#if CONFIG_MODEM_KEY_MGMT
BUILD_ASSERT(sizeof(ca_cert) < KB(4), "Certificate too large");
#endif

/* Macros used to subscribe to specific Zephyr NET management events. */
#define L4_EVENT_MASK (NET_EVENT_L4_CONNECTED | NET_EVENT_L4_DISCONNECTED)
#define CONN_LAYER_EVENT_MASK (NET_EVENT_CONN_IF_FATAL_ERROR)

K_SEM_DEFINE(network_connected_sem, 0, 1);

/* Zephyr NET management event callback structures. */
static struct net_mgmt_event_callback l4_cb;
static struct net_mgmt_event_callback conn_cb;

/* Provision certificate to modem */
int cert_provision(void) {
  int err;

#if CONFIG_MODEM_KEY_MGMT
  bool exists;
  int mismatch;

  /* It may be sufficient for you application to check whether the correct
   * certificate is provisioned with a given tag directly using
   * modem_key_mgmt_cmp(). Here, for the sake of the completeness, we check that
   * a certificate exists before comparing it with what we expect it to be.
   */
  err = modem_key_mgmt_exists(
      TLS_SEC_TAG, MODEM_KEY_MGMT_CRED_TYPE_CA_CHAIN, &exists
  );
  if (err) {
    LOG_ERR("Failed to check for certificates err %d\n", err);
    return err;
  }

  if (exists) {
    mismatch = modem_key_mgmt_cmp(
        TLS_SEC_TAG, MODEM_KEY_MGMT_CRED_TYPE_CA_CHAIN, ca_cert, sizeof(ca_cert)
    );
    if (!mismatch) {
      LOG_INF("Certificate match\n");
      return 0;
    }

    LOG_INF("Certificate mismatch\n");
    err = modem_key_mgmt_delete(TLS_SEC_TAG, MODEM_KEY_MGMT_CRED_TYPE_CA_CHAIN);
    if (err) {
      LOG_ERR("Failed to delete existing certificate, err %d\n", err);
    }
  }

  LOG_INF("Provisioning certificate");

  /*  Provision certificate to the modem */
  err = modem_key_mgmt_write(
      TLS_SEC_TAG, MODEM_KEY_MGMT_CRED_TYPE_CA_CHAIN, ca_cert,
      sizeof(ca_cert) - 1
  );
  if (err) {
    LOG_ERR("Failed to provision certificate, err %d\n", err);
    return err;
  }
#else  /* CONFIG_MODEM_KEY_MGMT */
  err = tls_credential_add(
      TLS_SEC_TAG, TLS_CREDENTIAL_CA_CERTIFICATE, ca_cert, sizeof(ca_cert)
  );
  if (err == -EEXIST) {
    LOG_INF("CA certificate already exists, sec tag: %d\n", TLS_SEC_TAG);
  } else if (err < 0) {
    LOG_ERR("Failed to register CA certificate: %d\n", err);
    return err;
  }
#endif /* !CONFIG_MODEM_KEY_MGMT */

  return 0;
}

static void on_net_event_l4_disconnected(void) {
  LOG_INF("Disconnected from the network\n");
}

static void on_net_event_l4_connected(void) {
  k_sem_give(&network_connected_sem);
}

static void l4_event_handler(
    struct net_mgmt_event_callback *cb, uint32_t event, struct net_if *iface
) {
  switch (event) {
    case NET_EVENT_L4_CONNECTED:
      LOG_INF("Network connectivity established and IP address assigned\n");
      on_net_event_l4_connected();
      break;
    case NET_EVENT_L4_DISCONNECTED:
      LOG_WRN("Network connectivity lost\n");
      on_net_event_l4_disconnected();
      break;
    default:
      break;
  }
}

static void connectivity_event_handler(
    struct net_mgmt_event_callback *cb, uint32_t event, struct net_if *iface
) {
  if (event == NET_EVENT_CONN_IF_FATAL_ERROR) {
    LOG_ERR("Fatal error received from the connectivity layer\n");
    return;
  }
}

static void print_cellular_info(void) {
  int rsrp, sinr;
  char *imei, *imsi, *iccid, *fw_version, *sn;
  int32_t op_index, func;

  (void)mdm_hl7800_get_signal_quality(&rsrp, &sinr);
  LOG_INF("RSRP %d", rsrp);
  LOG_INF("SINR %d", sinr);

  imei = mdm_hl7800_get_imei();
  LOG_INF("IMEI: %s\n", imei);

  sn = mdm_hl7800_get_sn();
  LOG_INF("SERIAL_NUMBER: %s\n", sn);

  imsi = mdm_hl7800_get_imsi();
  LOG_INF("SIM_IMSI: %s\n", imsi);

  iccid = mdm_hl7800_get_iccid();
  LOG_INF("SIM_ICCID: %s\n", iccid);

  fw_version = mdm_hl7800_get_fw_version();
  LOG_INF("FW_VERSION: %s\n", fw_version);

  op_index = mdm_hl7800_get_operator_index();
  if (op_index < 0) {
    LOG_ERR("Operator Index Err: %d\n", op_index);
  }

  func = mdm_hl7800_get_functionality();
  if (op_index < 0) {
    LOG_ERR("Modem Functionality Err: %d\n", op_index);
  } else {
    LOG_INF("Modem Functionality: %d\n", op_index);
  }
}

int lte_connect(void) {
  int err;
  struct net_if *const iface = net_if_get_first_by_type(&NET_L2_GET_NAME(PPP));
  // uint16_t *port;

  /* Setup handler for Zephyr NET Connection Manager events. */
  net_mgmt_init_event_callback(&l4_cb, l4_event_handler, L4_EVENT_MASK);
  net_mgmt_add_event_callback(&l4_cb);

  /* Setup handler for Zephyr NET Connection Manager Connectivity layer. */
  net_mgmt_init_event_callback(
      &conn_cb, connectivity_event_handler, CONN_LAYER_EVENT_MASK
  );
  net_mgmt_add_event_callback(&conn_cb);

  LOG_INF("Powering up modem");
#if CONFIG_NRF_MODEM_LIB
  err = nrf_modem_lib_init();
  if (err) {
    LOG_ERR("Failed to initialize modem library!");
    return err;
  }
#endif

#ifdef CONFIG_MODEM_HL7800
  mdm_hl7800_log_filter_set(4);
  err = mdm_hl7800_reset();
  if (err != 0) {
    LOG_ERR("Error starting modem, Error: %d", err);
    return err;
  }
#endif

  /* Provision certificates before connecting to the network */
  err = cert_provision();
  if (err) {
    return 0;
  }

  LOG_INF("Bringing network interface up");

  /* Connecting to the configured connectivity layer.
   * Wi-Fi or LTE depending on the board that the sample was built for.
   */
  // err = conn_mgr_all_if_up(true);
  // if (err) {
  //   LOG_ERR("conn_mgr_all_if_up, error: %d\n", err);
  //   return err;
  // }

  // LOG_INF("Connecting to the network\n");

  // err = conn_mgr_all_if_connect(true);
  // if (err) {
  //   LOG_ERR("conn_mgr_all_if_connect, error: %d\n", err);
  //   return 0;
  // }
  // k_msleep(20000);

  err = net_if_up(iface);
  if (err < 0) {
    LOG_ERR("Failed to bring up network interface");
    // return -1;
  }

  // k_sem_take(&network_connected_sem, K_FOREVER);
  k_msleep(10000);

  print_cellular_info();
  LOG_INF("Modem connected!");

  return 0;
}

int lte_disconnect(void) {
  int err;

  /* A small delay for the TCP connection teardown */
  k_sleep(K_SECONDS(1));

  LOG_INF("Power off modem");

#ifdef CONFIG_MODEM_HL7800
  err = mdm_hl7800_power_off();
  if (err != 0) {
    LOG_ERR("Err powering off modem off, Err: %d", err);
  }
#endif

  // /* The HTTP transaction is done, take the network connection
  // down */ err = conn_mgr_all_if_disconnect(true); if (err) {
  //   LOG_ERR("conn_mgr_all_if_disconnect, error: %d\n", err);
  // }

  // err = conn_mgr_all_if_down(true);
  // if (err) {
  //   LOG_ERR("conn_mgr_all_if_down, error: %d\n", err);
  // }

  return err;
}
```

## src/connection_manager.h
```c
/** @file connection_manager.h
 *  @brief Macros and function defines for the zephyr connection manager.
 */
#ifndef CONNECTION_MANAGER_H
#define CONNECTION_MANAGER_H

extern struct k_sem network_connected_sem;

/** @fn int lte_connect(void)
 *  @brief Makes an HTTP GET request and returns a char pointer to the HTTP
 * response body buffer.
 */
int lte_connect(void);

/** @fn int lte_disconnect(void)
 *  @brief Makes an HTTP GET request and returns a char pointer to the HTTP
 * response body buffer.
 */
int lte_disconnect(void);
#endif
```

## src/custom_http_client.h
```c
/** @file custom_http_client.h
 *  @brief Macros and function defines for the HTTP client.
 */

#ifndef CUSTOM_HTTP_CLIENT_H
#define CUSTOM_HTTP_CLIENT_H

enum response_code {
  HTTP_NULL,
  HTTP_INFO,
  HTTP_SUCCESS,
  HTTP_REDIRECT,
  HTTP_CLIENT_ERROR,
  HTTP_SERVER_ERROR
};

/** @brief Makes an HTTP GET request and returns a char pointer to the HTTP
 * response body buffer.
 */
int http_request_stop_json(
    char *stop_body_buf, int stop_body_buf_size, char *headers_buf,
    int headers_buf_size
);

/** @brief Makes an HTTP GET request to download a firmware update file and
 * writes it to flash.
 */
int http_get_firmware(
    char *write_buf, int write_buf_size, char *headers_buf, int headers_buf_size
);
#endif
```

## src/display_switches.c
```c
#include "display_switches.h"

#include <zephyr/devicetree.h>
#include <zephyr/drivers/gpio.h>
#include <zephyr/kernel.h>
#include <zephyr/logging/log.h>

LOG_MODULE_REGISTER(display_switches, LOG_LEVEL_INF);

#if !DT_NODE_EXISTS(DT_NODELABEL(display_switch_0))
#error "Overlay for enable switch 0 node not properly defined."
#endif

#if !DT_NODE_EXISTS(DT_NODELABEL(display_switch_1))
#error "Overlay for enable switch 1 node not properly defined."
#endif

#if !DT_NODE_EXISTS(DT_NODELABEL(display_switch_2))
#error "Overlay for enable switch 2 node not properly defined."
#endif

#if !DT_NODE_EXISTS(DT_NODELABEL(display_switch_3))
#error "Overlay for enable switch 3 node not properly defined."
#endif

#if !DT_NODE_EXISTS(DT_NODELABEL(display_switch_4))
#error "Overlay for enable switch 4 node not properly defined."
#endif

#if !DT_NODE_EXISTS(DT_NODELABEL(display_switch_5))
#error "Overlay for enable switch 5 node not properly defined."
#endif

static const struct gpio_dt_spec display_switches[] = {
    GPIO_DT_SPEC_GET(DT_NODELABEL(display_switch_0), gpios),
    GPIO_DT_SPEC_GET(DT_NODELABEL(display_switch_1), gpios),
    GPIO_DT_SPEC_GET(DT_NODELABEL(display_switch_2), gpios),
    GPIO_DT_SPEC_GET(DT_NODELABEL(display_switch_3), gpios),
    GPIO_DT_SPEC_GET(DT_NODELABEL(display_switch_4), gpios),
    GPIO_DT_SPEC_GET(DT_NODELABEL(display_switch_5), gpios)
};

int init_display_switches(void) {
  for (size_t i = 0; i < ARRAY_SIZE(display_switches); i++) {
    if (!gpio_is_ready_dt(&display_switches[i])) {
      LOG_ERR(
          "Display switch %d GPIO port %s not ready", i,
          display_switches[i].port->name
      );
      return -ENODEV;
    }

    if (gpio_pin_configure_dt(&display_switches[i], GPIO_OUTPUT_INACTIVE)) {
      LOG_ERR(
          "GPIO pin %d (port %s) failed to configure as GPIO_OUTPUT_INACTIVE",
          display_switches[i].pin, display_switches[i].port->name
      );
      return -1;
    }
  }

  return 0;
}

int display_on(const int display_number) {
  int err = gpio_pin_set_dt(&display_switches[display_number], 1);
  if (err) {
    LOG_ERR("Setting GPIO pin level failed: %d", err);
    return err;
  }
  return 0;
}

int display_off(const int display_number) {
  int err = gpio_pin_set_dt(&display_switches[display_number], 0);
  if (err) {
    LOG_ERR("Setting GPIO pin level failed: %d", err);
    return err;
  }
  return 0;
}
```

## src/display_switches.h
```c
/** @file display_switches.h
 *  @brief LED display enable switch defines & functions
 */

#ifndef DISPLAY_SWITCHES_H
#define DISPLAY_SWITCHES_H

int init_display_switches(void);
int display_on(const int display_number);
int display_off(const int display_number);

#endif
```
